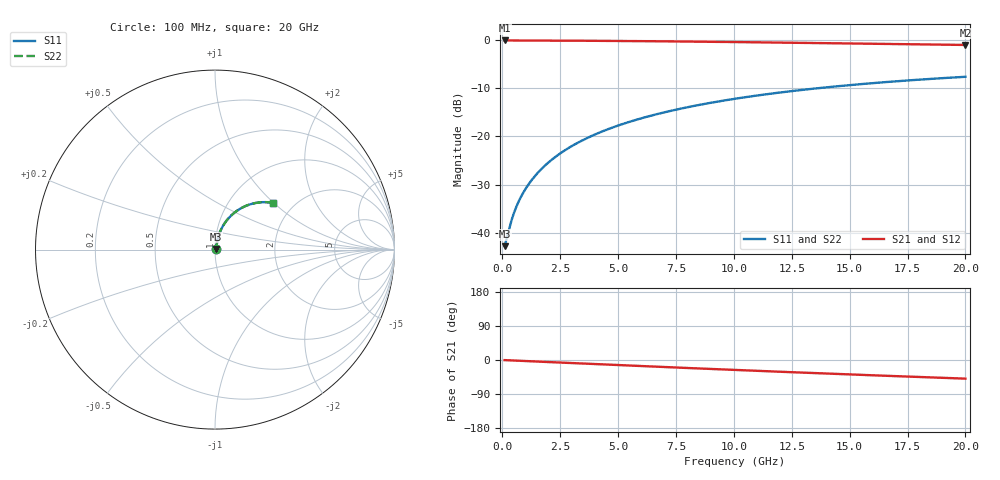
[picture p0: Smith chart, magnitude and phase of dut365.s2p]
! Touchstone file exported from HFSS 2026.1.0
!  File:  C:/ffzhzh/LocalFiles/Ansys_Project_Files/temp_train_TMRDL_365_1783004240_53980.aedt
!  Generated:  10:58:53 PM Jul  2, 2026
!  Design:  TMRDL
!  Project:  temp_train_TMRDL_365_1783004240_53980
! Variables:
!  h_bsmrdl = 2um
!  h_ox = 20um
!  h_rdl = 5um
!  h_sub = 80um
!  h_tmrdl = 2.71um
!  h_tsv = 80um
!  h_via = 3um
!  l_bsmrdl = 300um
!  l_sub = 1162.02um
!  l_tmrdl = 762.02um
!  m_sub = 200um
!  pitch = 33.06um
!  r_tsv = 6um
!  s_tmrdl = 10um
!  w_bsmrdl = 18um
!  w_sub = 500um
!  w_tmrdl = 15.2um
!  x_tsv_center1 = 769.62um
!  x_tsv_center2 = 1087.62um
!  x_tsv_center3 = 1864.84um
!  x_tsv_center4 = 2182.84um
!  x_tsv_center5 = 2960.06um
!  x_tsv_center6 = 3278.06um
# GHz S MA R 50.000000
! Terminal data exported
! Port[1] = TM_RDL1_1_T1
! Port[2] = TM_RDL1_1_T2
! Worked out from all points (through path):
!   200 points, 100 MHz to 20 GHz, reference 50 ohm
!   highest |S21| = -0.06 dB at 100 MHz (marker M1); lowest = -1.0 dB at 20 GHz (marker M2)
!   group delay of S21, straight-line fit = 6.84 ps
!   lowest |S11| = -42.8 dB at 100 MHz (marker M3), VSWR 1.01, Z = 50.7 + j0.295 ohm
!   |S11| at or under -10 dB: start of sweep to 13.58 GHz
!   |S22| runs from -42.8 to -7.6 dB; largest |S21 - S12| = 3.3e-15
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0.1  0.007258 23.6  0.9934 -0.3  0.9934 -0.3  0.007258 23.6
! Gamma 0 0 0 0
! Port Impedance 50 0 50 0
0.3  0.01112 50.5  0.993 -0.9  0.993 -0.9  0.01112 50.5
0.4  0.01351 56.9  0.9928 -1.1  0.9928 -1.1  0.01351 56.9
0.5  0.01597 61.2  0.9926 -1.4  0.9926 -1.4  0.01597 61.2
0.6  0.01845 64.2  0.9923 -1.7  0.9923 -1.7  0.01845 64.2
0.7  0.02095 66.5  0.9921 -1.9  0.9921 -1.9  0.02095 66.5
0.9  0.02595 69.7  0.9917 -2.5  0.9917 -2.5  0.02595 69.7
1.2  0.0335 72.5  0.9912 -3.3  0.9912 -3.3  0.0335 72.5
1.4  0.03856 73.6  0.9909 -3.8  0.9909 -3.8  0.03856 73.6
1.7  0.0462 74.7  0.9904 -4.6  0.9904 -4.6  0.0462 74.7
2.2  0.05898 75.5  0.9896 -5.9  0.9896 -5.9  0.05898 75.5
2.8  0.07434 75.5  0.9883 -7.5  0.9883 -7.5  0.07433 75.5
3.5  0.09218 74.8  0.9865 -9.4  0.9865 -9.4  0.09218 74.8
4.2  0.1099 73.7  0.9844 -11.3  0.9844 -11.3  0.1099 73.7
5  0.1298 72.2  0.9815 -13.4  0.9815 -13.4  0.1298 72.2
5.9  0.1519 70.3  0.9779 -15.7  0.9779 -15.7  0.1519 70.3
6.8  0.1734 68.3  0.9738 -18.0  0.9738 -18.0  0.1734 68.3
8.3  0.2081 64.8  0.9662 -21.9  0.9662 -21.9  0.2081 64.8
10.1  0.2475 60.6  0.9558 -26.4  0.9558 -26.4  0.2475 60.6
13.4  0.313 53.0  0.935 -34.3  0.935 -34.3  0.3129 53.0
16.7  0.3693 45.6  0.9132 -41.9  0.9132 -41.9  0.3693 45.6
20  0.4167 38.6  0.8922 -49.2  0.8922 -49.2  0.4167 38.6
